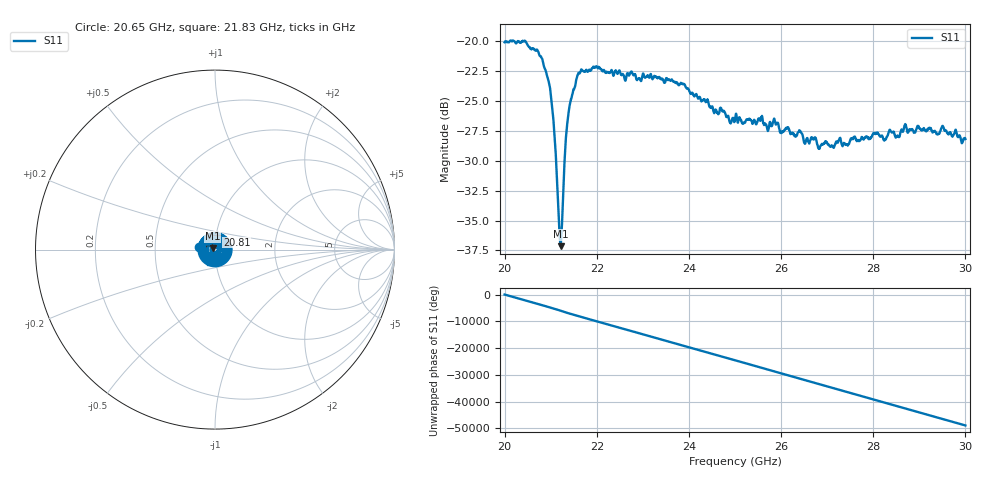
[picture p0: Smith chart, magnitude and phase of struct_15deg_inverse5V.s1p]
#  HZ  S  RI  R  50.00
! Rohde & Schwarz ZVA40 4Ports - Version 3.90 - 1145.1110k42 SN: 100403
! Date: 2023-09-28 10:36:13
! Measurement: S12
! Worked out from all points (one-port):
!   5001 points, 20 GHz to 30 GHz, reference 50 ohm
!   lowest |S11| = -37.2 dB at 21.21 GHz (marker M1), VSWR 1.03, Z = 48.8 + j0.688 ohm
!   |S11| at or under -10 dB: start of sweep to end of sweep
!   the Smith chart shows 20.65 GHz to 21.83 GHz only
!   S11 on the Smith chart (normalised r, x): 20.65 GHz: 0.83, +0.02; 20.81 GHz: 1.01, +0.17; 21.83 GHz: 0.94, -0.13
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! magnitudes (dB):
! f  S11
! 20 GHz  -20.1
! 20.42 GHz  -20.0
! 20.65 GHz  -20.7
! 20.81 GHz  -21.4
! 20.95 GHz  -23.2
! 21.02 GHz  -25.2
! 21.09 GHz  -28.4
! 21.18 GHz  -35.1
! 21.21 GHz  -37.2
! 21.25 GHz  -34.9
! 21.33 GHz  -27.9
! 21.42 GHz  -25.1
! 21.62 GHz  -22.7
! 21.83 GHz  -22.4
! 22.5 GHz  -22.5
! 23.75 GHz  -23.5
! 25 GHz  -26.6
! 25.55 GHz  -26.6
! 25.69 GHz  -27.2
! 25.88 GHz  -26.9
! 26.01 GHz  -27.7
! 26.25 GHz  -27.7
! 26.71 GHz  -28.2
! 26.83 GHz  -29.0
! 27.5 GHz  -28.3
! 28.75 GHz  -27.6
! 29.52 GHz  -27.1
! 30 GHz  -28.2
